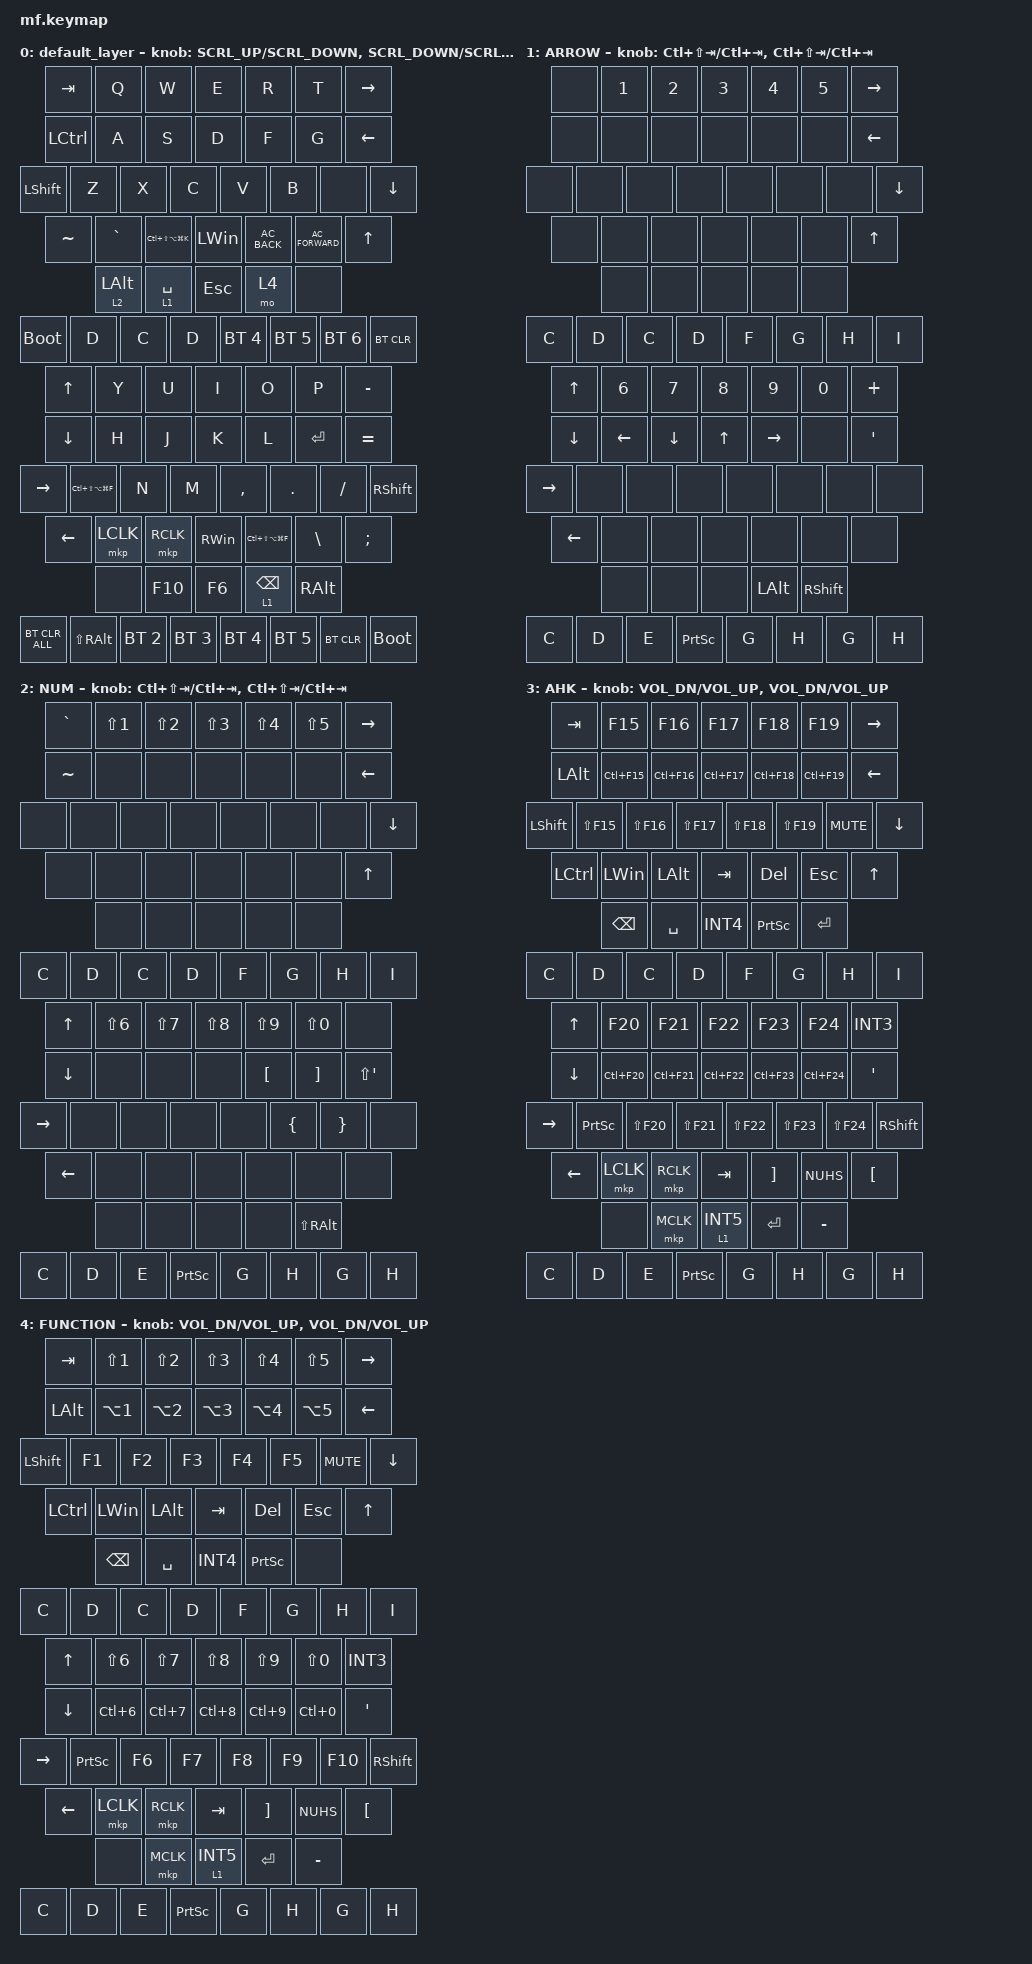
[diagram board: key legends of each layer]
#include <behaviors.dtsi>
#include <dt-bindings/zmk/bt.h>
#include <dt-bindings/zmk/keys.h>
#include <dt-bindings/zmk/mouse.h>
#include <dt-bindings/zmk/pointing.h>
#include <behaviors/rgbled_widget.dtsi>
#include <zephyr/dt-bindings/input/input-event-codes.h>

#define ZMK_POINTING_DEFAULT_SCRL_VAL 100

// Leyer
#define ARROW 1
#define NUM 2
#define AHK 3
#define FUNCTION 4

// Japanese
#define JP_MINUS MINUS        // -
#define JP_CARET EQUAL        // ^
#define JP_YEN   INT3         // ¥
#define JP_AT    LBKT         // @
#define JP_LBKT  RBKT         // [
#define JP_EISU  CAPS         // Eisu (英数)
#define JP_SEMI  SEMI         // ;
#define JP_COLON SQT          // :
#define JP_RBKT  NUHS         // ]
#define JP_COMMA COMMA        // ,
#define JP_DOT   DOT          // .
#define JP_SLASH SLASH        // /
#define JP_BSLH  INT1         // (backslash)
#define JP_MHEN  INT5         // Muhenkan (無変換)
#define JP_HENK  INT4         // Henkan (変換)
#define JP_EXCL  LS(N1)       // !
#define JP_DQT   LS(N2)       // "
#define JP_HASH  LS(N3)       // #
#define JP_DLLR  LS(N4)       // $
#define JP_PRCNT LS(N5)       // %
#define JP_AMPS  LS(N6)       // &
#define JP_SQT   LS(N7)       // '
#define JP_LPAR  LS(N8)       // (
#define JP_RPAR  LS(N9)       // )
#define JP_EQUAL LS(JP_MINUS) // =
#define JP_TILDE LS(JP_CARET) // ~
#define JP_PIPE  LS(JP_YEN)   // |
#define JP_GRAVE LS(JP_AT)    // `
#define JP_LBRC  LS(JP_LBKT)  // {
#define JP_CAPS  LS(JP_EISU)  // Caps Lock
#define JP_PLUS  LS(JP_SEMI)  // +
#define JP_ASTRK LS(JP_COLON) // *
#define JP_RBRC  LS(JP_RBKT)  // }
#define JP_LT    LS(JP_COMMA) // <
#define JP_RT    LS(JP_DOT)   // >
#define JP_QMARK LS(JP_SLASH) // ?
#define JP_UNDER LS(JP_BSLH)  // _

/ {
    macros {
        to_layer_0: to_layer_0 {
            compatible = "zmk,behavior-macro-one-param";
            #binding-cells = <1>;
            bindings = <&to 0 &macro_param_1to1 &kp MACRO_PLACEHOLDER>;
            label = "TO_LAYER_0";
        };
        my_sp: my_sp {
            compatible = "zmk,behavior-macro";
            #binding-cells = <0>;
            bindings = <&macro_tap &kp JP_MHEN>
                , <&macro_tap &kp LS(N3)>
                ;
        };
        my_dq: my_dq {
            #binding-cells = <0>;
            compatible = "zmk,behavior-macro";
            bindings = <&macro_tap &kp JP_MHEN>
                , <&macro_tap &kp LS(N2)>
                , <&macro_tap &kp LS(N2)>
                ;
        };
        my_sq: my_sq {
            #binding-cells = <0>;
            compatible = "zmk,behavior-macro";
            bindings = <&macro_tap &kp JP_MHEN>
                , <&macro_tap &kp LS(N7)>
                , <&macro_tap &kp LS(N7)>
                ;
        };

        my_kakko: my_kakko {
            compatible = "zmk,behavior-macro";
            #binding-cells = <0>;
            bindings = <&macro_tap &kp JP_MHEN>
                , <&macro_tap &kp LS(N8)>
                , <&macro_tap &kp LS(N9)>
                ;
        };
        my_br: my_br {
            compatible = "zmk,behavior-macro";
            #binding-cells = <0>;
            bindings = <&macro_tap &kp JP_MHEN>
                , <&macro_tap &kp JP_LT>
                , <&macro_tap &kp B>
                , <&macro_tap &kp R>
                , <&macro_tap &kp JP_RT>
                ;
        };
    };

    behaviors {
        lt_to_layer_0: lt_to_layer_0 {
            compatible = "zmk,behavior-hold-tap";
            label = "LAYER_TAP_TO_0";
            bindings = <&mo>, <&to_layer_0>;
            #binding-cells = <2>;
            tapping-term-ms = <200>;
        };
        rot_kp: sensor_rotate_kp {
            compatible = "zmk,behavior-sensor-rotate-var";
            #sensor-binding-cells = <2>;
            bindings = <&kp>, <&kp>;
            tap-ms = <20>;
        };
        rot_mkp: sensor_rotate_mkp {
            compatible = "zmk,behavior-sensor-rotate-var";
            #sensor-binding-cells = <2>;
            bindings = <&mkp>, <&mkp>;
            tap-ms = <20>;
        };
        mouse_scroll: mouse_wheel_scrl{
            compatible = "zmk,behavior-sensor-rotate-var";
            #sensor-binding-cells = <2>;
            bindings = <&msc>, <&msc>;
            tap-ms = <20>;
        };
        mouse_scroll2: mouse_wheel_scrl2{
            compatible = "zmk,behavior-sensor-rotate-var";
            #sensor-binding-cells = <2>;
            bindings = <&msc>, <&msc>;
            tap-ms = <16>;
        };
    };

    combos {
        compatible = "zmk,combos";
        lang1 {
            timeout-ms = <50>;
            key-positions = <51 52>;
            bindings = <&kp LANG1>;
            layers = <0>;
        };
        lang2 {
            timeout-ms = <50>;
            key-positions = <10 11>;
            bindings = <&kp LANG2>;
        };
        combo_3 {
            timeout-ms = <50>;
            key-positions = <52 53>;
            bindings = <&kp LC(LS(LA(LG(F))))>;
        };
        combo_4 {
            timeout-ms = <50>;
            key-positions = <9 10>;
            bindings = <&kp LC(LS(LA(LG(F))))>;
        };
    };










    keymap {
        compatible = "zmk,keymap";
        default_layer {
            bindings = <
                &kp TAB  &kp Q  &kp W  &kp E  &kp R  &kp T  &kp RIGHT
                &kp LCTRL  &kp A  &kp S  &kp D  &kp F  &kp G  &kp LEFT
                &kp LSHIFT  &kp Z  &kp X  &kp C  &kp V  &kp B  &none  &kp DOWN
                &kp TILDE  &kp GRAVE  &kp LC(LS(LA(LG(K))))  &kp LWIN  &kp C_AC_BACK  &kp C_AC_FORWARD  &kp UP
                &lt_to_layer_0 2 LALT  &lt 1 SPACE  &kp ESC  &mo 4  &none
                &bootloader  &kp D  &kp C  &kp D  &bt BT_SEL 4  &bt BT_SEL 5  &bt BT_SEL 6  &bt BT_CLR

                &kp UP  &kp Y  &kp U  &kp I  &kp O  &kp P  &kp MINUS
                &kp DOWN  &kp H  &kp J  &kp K  &kp L  &kp ENTER  &kp EQUAL
                &kp RIGHT  &kp LC(LS(LA(LG(F))))  &kp N  &kp M  &kp COMMA  &kp DOT  &kp SLASH  &kp RSHIFT
                &kp LEFT  &mkp LCLK  &mkp RCLK  &kp RWIN  &kp LC(LS(LA(LG(F))))  &kp BSLH  &kp SEMI
                &none  &kp F10  &kp F6  &lt_to_layer_0 1 BSPC  &kp RALT
                &bt BT_CLR_ALL  &kp LS(RALT)  &bt BT_SEL 2  &bt BT_SEL 3  &bt BT_SEL 4  &bt BT_SEL 5  &bt BT_CLR  &bootloader
            >;
            sensor-bindings = <&mouse_scroll2 SCRL_UP SCRL_DOWN &mouse_scroll SCRL_DOWN SCRL_UP>;
        };
        ARROW {
            bindings = <
                &none  &kp N1  &kp N2  &kp N3  &kp N4  &kp N5  &kp RIGHT
                &none  &none  &none  &none  &none  &none  &kp LEFT
                &none  &none  &none  &none  &none  &none  &none  &kp DOWN
                &none  &none  &none  &none  &none  &none  &kp UP
                &none  &none  &none  &none  &none
                &kp C  &kp D  &kp C  &kp D  &kp F  &kp G  &kp H  &kp I

                &kp UP  &kp N6  &kp N7  &kp N8  &kp N9  &kp N0  &kp PLUS
                &kp DOWN  &kp LEFT  &kp DOWN  &kp UP  &kp RIGHT  &none  &kp SQT
                &kp RIGHT  &none  &none  &none  &none  &none  &none  &none
                &kp LEFT  &none  &none  &none  &none  &none  &none
                &none  &none  &none  &kp LALT  &kp RSHIFT
                &kp C  &kp D  &kp E  &kp PSCRN  &kp G  &kp H  &kp G  &kp H
            >;
            sensor-bindings = <&inc_dec_kp LC(LS(TAB)) LC(TAB) &inc_dec_kp LC(LS(TAB)) LC(TAB)>;
        };
        NUM {
            bindings = <
                &kp GRAVE  &kp LS(N1)  &kp LS(N2)  &kp LS(N3)  &kp LS(N4)  &kp LS(N5)  &kp RIGHT
                &kp TILDE  &none  &none  &none  &none  &none  &kp LEFT
                &none  &none  &none  &none  &none  &none  &none  &kp DOWN
                &none  &none  &none  &none  &none  &none  &kp UP
                &none  &none  &none  &none  &none
                &kp C  &kp D  &kp C  &kp D  &kp F  &kp G  &kp H  &kp I

                &kp UP  &kp LS(N6)  &kp LS(N7)  &kp LS(N8)  &kp LS(N9)  &kp LS(N0)  &none
                &kp DOWN  &none  &none  &none  &kp LBKT  &kp RBKT  &kp LS(SQT)
                &kp RIGHT  &none  &none  &none  &none  &kp LBRC  &kp RBRC  &none
                &kp LEFT  &none  &none  &none  &none  &none  &none
                &none  &none  &none  &none  &kp LS(RALT)
                &kp C  &kp D  &kp E  &kp PSCRN  &kp G  &kp H  &kp G  &kp H
            >;
            sensor-bindings = <&inc_dec_kp LC(LS(TAB)) LC(TAB) &inc_dec_kp LC(LS(TAB)) LC(TAB)>;
        };
        AHK {
            bindings = <
                &kp TAB  &kp F15  &kp F16  &kp F17  &kp F18  &kp F19  &kp RIGHT
                &kp LALT  &kp LC(F15)  &kp LC(F16)  &kp LC(F17)  &kp LC(F18)  &kp LC(F19)  &kp LEFT
                &kp LSHIFT  &kp LS(F15)  &kp LS(F16)  &kp LS(F17)  &kp LS(F18)  &kp LS(F19)  &kp C_MUTE  &kp DOWN
                &kp LCTRL  &kp LWIN  &kp LALT  &kp TAB  &kp DEL  &kp ESC  &kp UP
                &kp BSPC  &kp SPACE  &kp JP_HENK  &kp PSCRN  &kp ENTER
                &kp C  &kp D  &kp C  &kp D  &kp F  &kp G  &kp H  &kp I

                &kp UP  &kp F20  &kp F21  &kp F22  &kp F23  &kp F24  &kp JP_YEN
                &kp DOWN  &kp LC(F20)  &kp LC(F21)  &kp LC(F22)  &kp LC(F23)  &kp LC(F24)  &kp JP_COLON
                &kp RIGHT  &kp PSCRN  &kp LS(F20)  &kp LS(F21)  &kp LS(F22)  &kp LS(F23)  &kp LS(F24)  &kp RSHIFT
                &kp LEFT  &mkp LCLK  &mkp RCLK  &kp TAB  &kp JP_LBKT  &kp JP_RBKT  &kp JP_AT
                &none  &mkp MCLK  &lt_to_layer_0 1 JP_MHEN  &kp ENTER  &kp MINUS
                &kp C  &kp D  &kp E  &kp PSCRN  &kp G  &kp H  &kp G  &kp H
            >;
            sensor-bindings = <&inc_dec_kp C_VOL_DN C_VOL_UP &inc_dec_kp C_VOL_DN C_VOL_UP>;
        };
        FUNCTION {
            bindings = <
                &kp TAB  &kp LS(N1)  &kp LS(N2)  &kp LS(N3)  &kp LS(N4)  &kp LS(N5)  &kp RIGHT
                &kp LALT  &kp LA(N1)  &kp LA(N2)  &kp LA(N3)  &kp LA(N4)  &kp LA(N5)  &kp LEFT
                &kp LSHIFT  &kp F1  &kp F2  &kp F3  &kp F4  &kp F5  &kp C_MUTE  &kp DOWN
                &kp LCTRL  &kp LWIN  &kp LALT  &kp TAB  &kp DEL  &kp ESC  &kp UP
                &kp BSPC  &kp SPACE  &kp JP_HENK  &kp PSCRN  &none
                &kp C  &kp D  &kp C  &kp D  &kp F  &kp G  &kp H  &kp I

                &kp UP  &kp LS(N6)  &kp LS(N7)  &kp LS(N8)  &kp LS(N9)  &kp LS(N0)  &kp JP_YEN
                &kp DOWN  &kp LC(N6)  &kp LC(N7)  &kp LC(N8)  &kp LC(N9)  &kp LC(N0)  &kp JP_COLON
                &kp RIGHT  &kp PSCRN  &kp F6  &kp F7  &kp F8  &kp F9  &kp F10  &kp RSHIFT
                &kp LEFT  &mkp LCLK  &mkp RCLK  &kp TAB  &kp JP_LBKT  &kp JP_RBKT  &kp JP_AT
                &none  &mkp MCLK  &lt_to_layer_0 1 JP_MHEN  &kp ENTER  &kp MINUS
                &kp C  &kp D  &kp E  &kp PSCRN  &kp G  &kp H  &kp G  &kp H
            >;
            sensor-bindings = <&inc_dec_kp C_VOL_DN C_VOL_UP &inc_dec_kp C_VOL_DN C_VOL_UP>;
        };
    };
};
